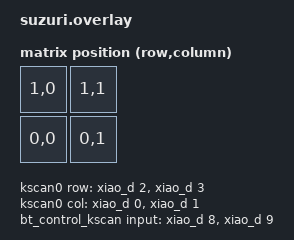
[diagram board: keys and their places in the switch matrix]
#include "suzuri-layouts.dtsi"

#include <dt-bindings/zmk/matrix_transform.h>
#include <zephyr/dt-bindings/input/input-event-codes.h>
#include <input/processors.dtsi>
#include <dt-bindings/zmk/bt.h>
#include <dt-bindings/zmk/input_transform.h>

/ {
    chosen {
        // zmk,kscan = &kscan0;
        // zmk,matrix_transform = &default_transform;
        zmk,physical-layout = &suzuri_physical_layout;
    };

    kscan0: kscan0 {
        compatible = "zmk,kscan-gpio-matrix";
        diode-direction = "col2row";
        wakeup-source;

        col-gpios
            = <&xiao_d 0 GPIO_ACTIVE_HIGH>
            , <&xiao_d 1 GPIO_ACTIVE_HIGH>
            ;

        row-gpios
            = <&xiao_d 2 (GPIO_ACTIVE_HIGH | GPIO_PULL_DOWN)>
            , <&xiao_d 3 (GPIO_ACTIVE_HIGH | GPIO_PULL_DOWN)>
            ;
    };

    default_transform: keymap_transform0 {
        compatible = "zmk,matrix-transform";
        columns = <2>; // Length of the "col-gpios" array
        rows = <2>; // Length of the "row-gpios" array
        map = <
        //   Key 1 | Key 2
            RC(1,0) RC(1,1)
        //   Key 3 | Key 4
            RC(0,0) RC(0,1)
        >;
    };

    // 直接GPIO kscanの定義
    bt_control_kscan: bt_control_kscan {
        compatible = "zmk,kscan-gpio-direct";
        wakeup-source;
        debounce-press-ms = <10>;
        debounce-release-ms = <10>;
        input-gpios
            = <&xiao_d 8 (GPIO_ACTIVE_LOW | GPIO_PULL_UP)>  // d8 for BT_CLR
            , <&xiao_d 9 (GPIO_ACTIVE_LOW | GPIO_PULL_UP)>  // d9 for BT_NXT
            ;
    };

    // Kscan Sideband Behavior Driverの設定
    bt_sideband_behaviors {
        compatible = "zmk,kscan-sideband-behaviors";

        auto-enable;
        kscan = <&bt_control_kscan>;

        bt_clear_sideband: bt_clear_sideband {
            column = <0>;  // d8に対応
            bindings = <&bt BT_CLR>;
        };

        bt_next_sideband: bt_next_sideband {
            column = <1>;  // d9に対応
            bindings = <&bt BT_NXT>;
        };
    };

};

&pinctrl {
    spi0_default: spi0_default {
        group1 {
            psels = <NRF_PSEL(SPIM_SCK, 0, 5)>, //SCLK
                    <NRF_PSEL(SPIM_MOSI, 0, 4)>, //SDIO
                    <NRF_PSEL(SPIM_MISO, 0, 4)>; //SDIO
        };
    };

    spi0_sleep: spi0_sleep {
        group1 {
            psels = <NRF_PSEL(SPIM_SCK, 0, 5)>, //SCLK
                    <NRF_PSEL(SPIM_MOSI, 0, 4)>, //SDIO
                    <NRF_PSEL(SPIM_MISO, 0, 4)>; //SDIO
            low-power-enable;
        };
    };
};

&spi0 {
    status = "okay";
    compatible = "nordic,nrf-spim";
    pinctrl-0 = <&spi0_default>;
    pinctrl-1 = <&spi0_sleep>;
    pinctrl-names = "default", "sleep";
    cs-gpios = <&xiao_d 7 GPIO_ACTIVE_LOW>; //NCS

    trackball: trackball@0 {
        status = "okay";
        compatible = "pixart,pmw3610";
        reg = <0>;
        spi-max-frequency = <2000000>;
        irq-gpios = <&xiao_d 10 (GPIO_ACTIVE_LOW | GPIO_PULL_UP)>; //MOT
        cpi = <1200>;
        evt-type = <INPUT_EV_REL>;
        x-input-code = <INPUT_REL_X>;
        y-input-code = <INPUT_REL_Y>;
    };
};

/ {
    trackball_listener {
        // Input Processor を使用して、トラックボールの入力を処理できます。
        // 参考 https://zmk.dev/docs/keymaps/input-processors
        compatible = "zmk,input-listener";
        device = <&trackball>;
        input-processors = 
            <&zip_x_scaler 9 8>, // X軸（横方向）の移動量を1.125倍に調整。倍率を大きくすると、Y軸（縦方向）の移動時に横ブレを感じやすくなります。
            <&zip_xy_transform INPUT_TRANSFORM_X_INVERT>; // X軸反転

        scroller {
            layers = <1>;
            input-processors =
                <&zip_xy_to_scroll_mapper>,
                <&zip_scroll_transform INPUT_TRANSFORM_Y_INVERT>, // Y軸反転
                <&zip_scroll_scaler 1 40>; // スクロール速度を1/40に調整
            process-next;
        };
    };
};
